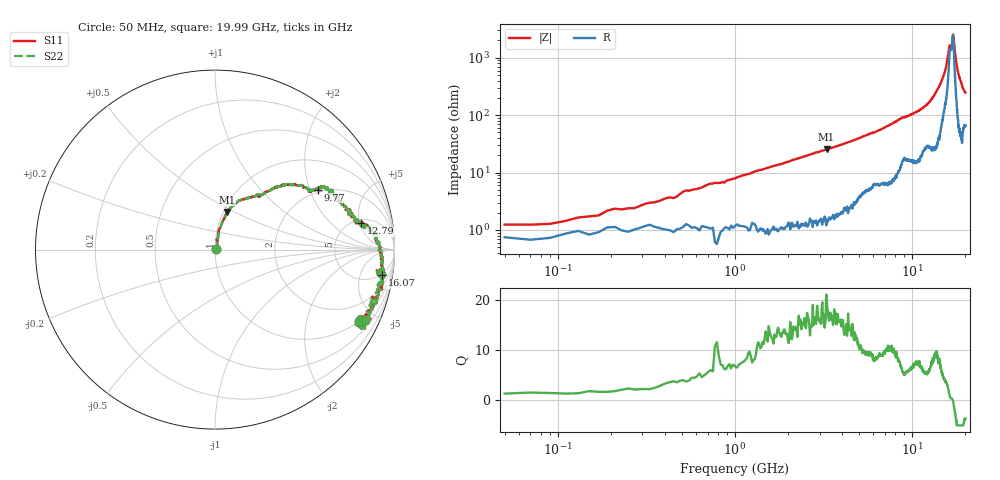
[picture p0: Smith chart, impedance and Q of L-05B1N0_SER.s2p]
! Data Taken on a HP 8720C VNA using a series-through fixture with TRL* de-embedding
#	mhz	s	ma	r	50
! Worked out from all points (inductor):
!   998 points, 50 MHz to 19.99 GHz, reference 50 ohm
!   read as one part in series: L = 1.34 nH near 390 MHz
!   highest Q = 17.2 at 3.29 GHz (marker M1), where L = 1.23 nH
!   self-resonance near 16.97 GHz
!   S11 on the Smith chart (normalised r, x): 50 MHz: 1.01, +0.01; 9.77 GHz: 1.90, +2.27; 12.79 GHz: 5.60, +5.24; 16.07 GHz: 4, -11; 19.99 GHz: 0.99, -3.94
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50  0.0052 50.2  0.9884 -0.9  0.9884 -0.9  0.0052 50.2
150  0.01228 45.1  0.9919 -1.2  0.9919 -1.2  0.01228 45.1
290  0.02063 56.5  0.9892 -1.7  0.9892 -1.7  0.02063 56.5
730  0.05558 77.5  0.9857 -4.0  0.9857 -4.0  0.05558 77.5
1410  0.09547 79.3  0.9805 -7.1  0.9805 -7.1  0.09547 79.3
3290  0.2203 72.2  0.9591 -15.8  0.9591 -15.8  0.2203 72.2
3390  0.2236 71.3  0.9531 -16.1  0.9531 -16.1  0.2236 71.3
6710  0.4383 47.8  0.8714 -33.0  0.8714 -33.0  0.4383 47.8
9770  0.6623 30.3  0.7056 -48.2  0.7056 -48.2  0.6623 30.3
10030  0.6809 30.7  0.6935 -48.5  0.6935 -48.5  0.6809 30.7
12790  0.8274 10.3  0.4736 -70.9  0.4736 -70.9  0.8274 10.3
13350  0.8799 7.2  0.4061 -76.1  0.4061 -76.1  0.8799 7.2
15130  0.9417 -6.5  0.1873 -83.0  0.1873 -83.0  0.9417 -6.5
15650  0.9478 -8.5  0.1235 -81.8  0.1235 -81.8  0.9478 -8.5
16070  0.9431 -8.7  0.07343 -70.8  0.07343 -70.8  0.9431 -8.7
16290  0.9229 -8.4  0.05643 -48.6  0.05643 -48.6  0.9229 -8.4
16670  0.9081 -7.3  0.06041 -28.0  0.06041 -28.0  0.9081 -7.3
17070  0.9369 -8.8  0.03709 14.4  0.03709 14.4  0.9369 -8.8
17590  0.9318 -14.9  0.08971 57.7  0.08971 57.7  0.9318 -14.9
18150  0.9136 -22.2  0.1563 60.0  0.1563 60.0  0.9136 -22.2
18790  0.933 -27.6  0.2251 56.3  0.2251 56.3  0.933 -27.6
19990  0.8923 -26.9  0.3472 47.6  0.3472 47.6  0.8923 -26.9
